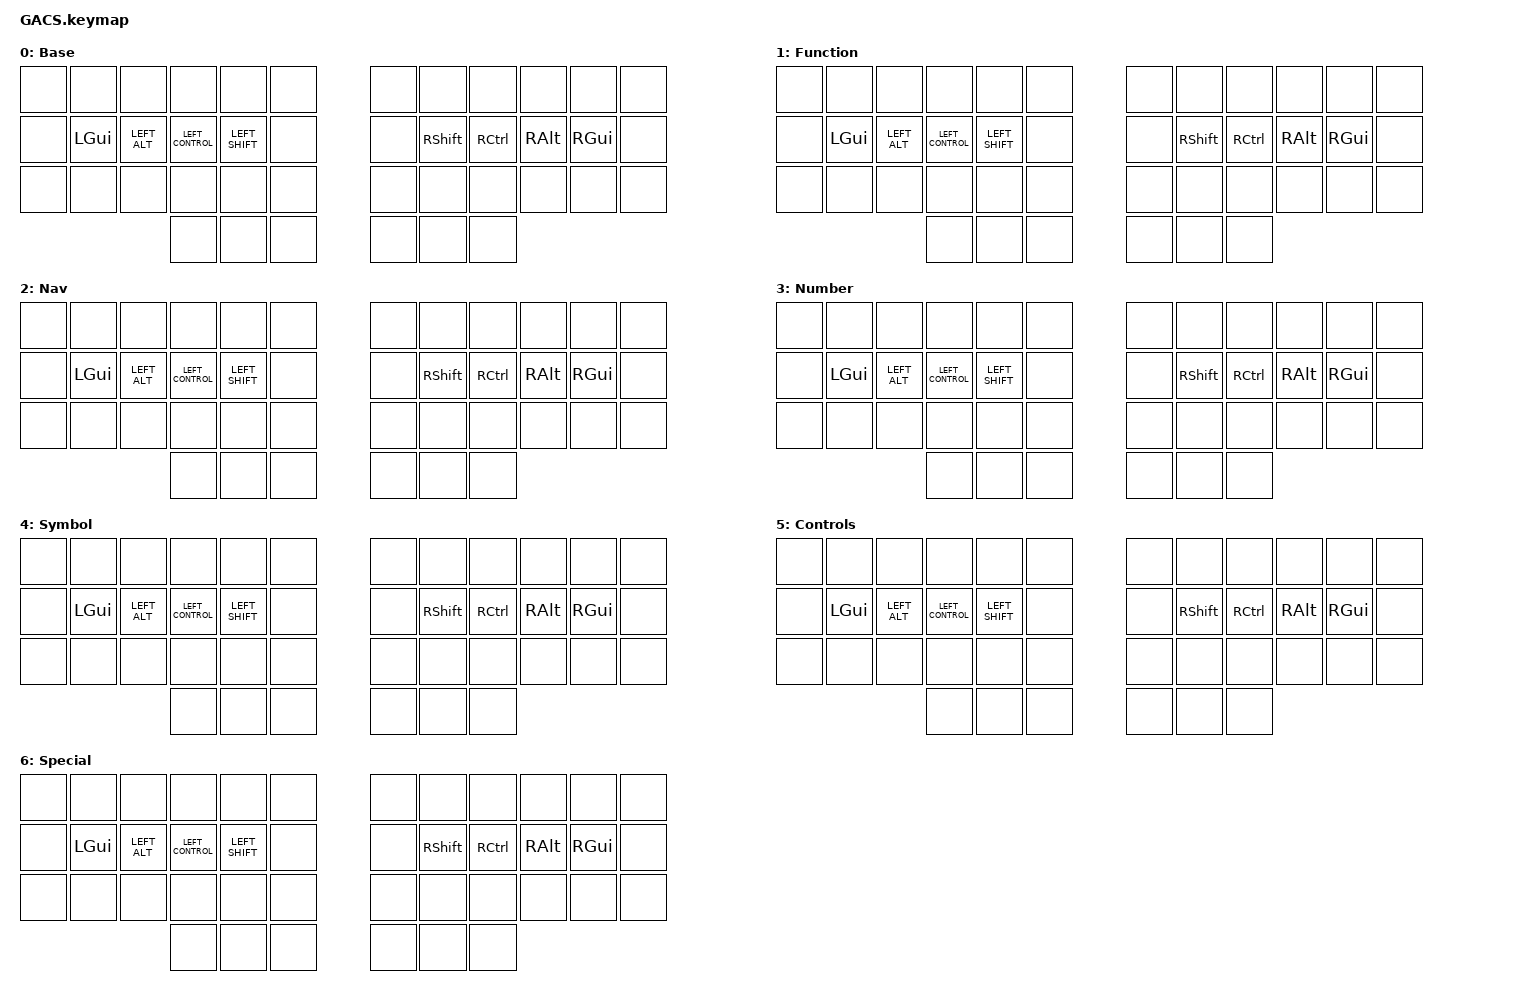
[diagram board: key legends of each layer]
#include <behaviors.dtsi>
#include <dt-bindings/zmk/keys.h>

/ {
    keymap {
        compatible = "zmk,keymap";

        Base {
            bindings = <
&none  &none         &none      &none          &none        &none    &none  &none            &none              &none          &none          &none
&none  &kp LEFT_GUI  &LEFT_ALT  &LEFT_CONTROL  &LEFT_SHIFT  &none    &none  &kp RIGHT_SHIFT  &kp RIGHT_CONTROL  &kp RIGHT_ALT  &kp RIGHT_GUI  &none
&none  &none         &none      &none          &none        &none    &none  &none            &none              &none          &none          &none
                                &none          &none        &none    &none  &none            &none
            >;
        };

        Function {
            bindings = <
&none  &none         &none      &none          &none        &none    &none  &none            &none              &none          &none          &none
&none  &kp LEFT_GUI  &LEFT_ALT  &LEFT_CONTROL  &LEFT_SHIFT  &none    &none  &kp RIGHT_SHIFT  &kp RIGHT_CONTROL  &kp RIGHT_ALT  &kp RIGHT_GUI  &none
&none  &none         &none      &none          &none        &none    &none  &none            &none              &none          &none          &none
                                &none          &none        &none    &none  &none            &none
            >;
        };

        Nav {
            bindings = <
&none  &none         &none      &none          &none        &none    &none  &none            &none              &none          &none          &none
&none  &kp LEFT_GUI  &LEFT_ALT  &LEFT_CONTROL  &LEFT_SHIFT  &none    &none  &kp RIGHT_SHIFT  &kp RIGHT_CONTROL  &kp RIGHT_ALT  &kp RIGHT_GUI  &none
&none  &none         &none      &none          &none        &none    &none  &none            &none              &none          &none          &none
                                &none          &none        &none    &none  &none            &none
            >;
        };

        Number {
            bindings = <
&none  &none         &none      &none          &none        &none    &none  &none            &none              &none          &none          &none
&none  &kp LEFT_GUI  &LEFT_ALT  &LEFT_CONTROL  &LEFT_SHIFT  &none    &none  &kp RIGHT_SHIFT  &kp RIGHT_CONTROL  &kp RIGHT_ALT  &kp RIGHT_GUI  &none
&none  &none         &none      &none          &none        &none    &none  &none            &none              &none          &none          &none
                                &none          &none        &none    &none  &none            &none
            >;
        };

        Symbol {
            bindings = <
&none  &none         &none      &none          &none        &none    &none  &none            &none              &none          &none          &none
&none  &kp LEFT_GUI  &LEFT_ALT  &LEFT_CONTROL  &LEFT_SHIFT  &none    &none  &kp RIGHT_SHIFT  &kp RIGHT_CONTROL  &kp RIGHT_ALT  &kp RIGHT_GUI  &none
&none  &none         &none      &none          &none        &none    &none  &none            &none              &none          &none          &none
                                &none          &none        &none    &none  &none            &none
            >;
        };

        Controls {
            bindings = <
&none  &none         &none      &none          &none        &none    &none  &none            &none              &none          &none          &none
&none  &kp LEFT_GUI  &LEFT_ALT  &LEFT_CONTROL  &LEFT_SHIFT  &none    &none  &kp RIGHT_SHIFT  &kp RIGHT_CONTROL  &kp RIGHT_ALT  &kp RIGHT_GUI  &none
&none  &none         &none      &none          &none        &none    &none  &none            &none              &none          &none          &none
                                &none          &none        &none    &none  &none            &none
            >;
        };

        Special {
            bindings = <
&none  &none         &none      &none          &none        &none    &none  &none            &none              &none          &none          &none
&none  &kp LEFT_GUI  &LEFT_ALT  &LEFT_CONTROL  &LEFT_SHIFT  &none    &none  &kp RIGHT_SHIFT  &kp RIGHT_CONTROL  &kp RIGHT_ALT  &kp RIGHT_GUI  &none
&none  &none         &none      &none          &none        &none    &none  &none            &none              &none          &none          &none
                                &none          &none        &none    &none  &none            &none
            >;
        };

    };
};
